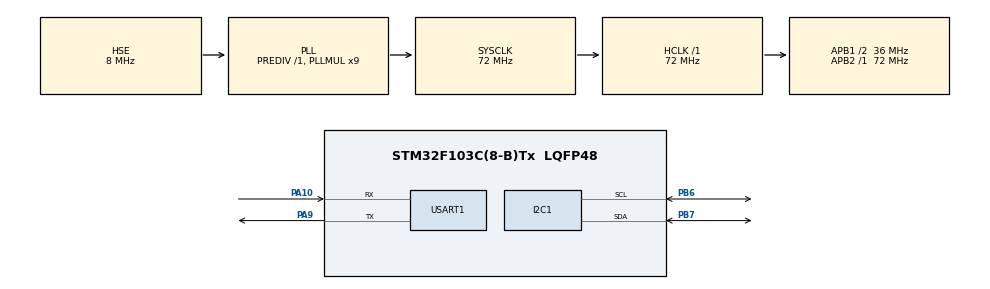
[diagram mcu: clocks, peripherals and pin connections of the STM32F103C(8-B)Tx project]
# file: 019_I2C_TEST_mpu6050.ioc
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Mcu.Family=STM32F1
Mcu.Name=STM32F103C(8-B)Tx
Mcu.Package=LQFP48
NVIC.PriorityGroup=NVIC_PRIORITYGROUP_4
PA10.Mode=Asynchronous
PA10.Signal=USART1_RX
PA13.Mode=Serial_Wire
PA13.Signal=SYS_JTMS-SWDIO
PA14.Mode=Serial_Wire
PA14.Signal=SYS_JTCK-SWCLK
PA9.Mode=Asynchronous
PA9.Signal=USART1_TX
PB6.Mode=I2C
PB6.Signal=I2C1_SCL
PB7.Mode=I2C
PB7.Signal=I2C1_SDA
PD0-OSC_IN.Mode=HSE-External-Oscillator
PD0-OSC_IN.Signal=RCC_OSC_IN
PD1-OSC_OUT.Mode=HSE-External-Oscillator
PD1-OSC_OUT.Signal=RCC_OSC_OUT
ProjectManager.HeapSize=0x200
ProjectManager.StackSize=0x400
ProjectManager.TargetToolchain=STM32CubeIDE
RCC.AHBFreq_Value=72000000
RCC.APB1CLKDivider=RCC_HCLK_DIV2
RCC.APB1Freq_Value=36000000
RCC.APB1TimFreq_Value=72000000
RCC.APB2Freq_Value=72000000
RCC.APB2TimFreq_Value=72000000
RCC.HCLKFreq_Value=72000000
RCC.PLLMUL=RCC_PLL_MUL9
RCC.PLLSourceVirtual=RCC_PLLSOURCE_HSE
RCC.SYSCLKFreq_VALUE=72000000
RCC.SYSCLKSource=RCC_SYSCLKSOURCE_PLLCLK
RCC.USBFreq_Value=72000000
USART1.VirtualMode=VM_ASYNC
board=custom

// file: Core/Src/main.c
#include "main.h"

/* USER CODE BEGIN PD */
#define MPU6050_ADDR        0xD0
#define SMPLRT_DIV_REG      0x19
#define GYRO_CONFIG_REG     0x1B
#define ACCEL_CONFIG_REG    0x1C
#define ACCEL_XOUT_H_REG    0x3B
#define TEMP_OUT_H_REG      0x41
#define GYRO_XOUT_H_REG     0x43
#define PWR_MGMT_1_REG      0x6B
#define WHO_AM_I_REG        0x75
/* USER CODE END PD */

I2C_HandleTypeDef hi2c1;

UART_HandleTypeDef huart1;

void SystemClock_Config(void);
static void MX_GPIO_Init(void);
static void MX_I2C1_Init(void);
static void MX_USART1_UART_Init(void);
/* USER CODE BEGIN PFP */
void MPU6050_Init(void);
void MPU6050_Read_Accel(void);
void MPU6050_Read_Gyro(void);
void MPU6050_Accel_Angle(void);
void MPU6050_Gyro_Angle(void);
/* USER CODE END PFP */

/* USER CODE BEGIN 0 */
int16_t Accel_X_RAW = 0;
int16_t Accel_Y_RAW = 0;
int16_t Accel_Z_RAW = 0;

int16_t Gyro_X_RAW = 0;
int16_t Gyro_Y_RAW = 0;
int16_t Gyro_Z_RAW = 0;

float Ax, Ay, Az, Gx, Gy, Gz;

//variables para el calculo de angulo
float Ax_angle;
float Ay_angle;

float Gx_angle;
float Gy_angle;
float Gx_angle_prev = 0;
float Gy_angle_prev = 0;
uint32_t dt;
uint32_t dt_prev = 0;
volatile uint32_t tick;
/* USER CODE END 0 */

int main(void)
{

    /* MCU Configuration--------------------------------------------------------*/

    /* Reset of all peripherals, Initializes the Flash interface and the Systick. */
    HAL_Init();

    /* Configure the system clock */
    SystemClock_Config();

    /* Initialize all configured peripherals */
    MX_GPIO_Init();
    MX_I2C1_Init();
    MX_USART1_UART_Init();
    /* USER CODE BEGIN 2 */
    MPU6050_Init();
    /* USER CODE END 2 */
    printf("CONFIGURACION MPU6050 EXITOSA\r\n");
    /* Infinite loop */
    while (1)
    {
        MPU6050_Read_Accel();
        MPU6050_Read_Gyro();
        MPU6050_Accel_Angle();
        MPU6050_Gyro_Angle();
        printf("angulo Ax->%.2f\r\n", Ax_angle);
        printf("angulo Ay->%.2f\r\n", Ay_angle);
        printf("angulo Gx->%.2f\r\n", Gx_angle);
        printf("angulo Gy->%.2f\r\n", Gy_angle);
        printf("\r\n");
        printf("tiempo->%ld\r\n", millis());
        HAL_Delay(200);
    }
}

void SystemClock_Config(void)
{
    RCC_OscInitTypeDef RCC_OscInitStruct = {0};
    RCC_ClkInitTypeDef RCC_ClkInitStruct = {0};

    /** Initializes the CPU, AHB and APB busses clocks
    */
    RCC_OscInitStruct.OscillatorType = RCC_OSCILLATORTYPE_HSE;
    RCC_OscInitStruct.HSEState = RCC_HSE_ON;
    RCC_OscInitStruct.HSEPredivValue = RCC_HSE_PREDIV_DIV1;
    RCC_OscInitStruct.HSIState = RCC_HSI_ON;
    RCC_OscInitStruct.PLL.PLLState = RCC_PLL_ON;
    RCC_OscInitStruct.PLL.PLLSource = RCC_PLLSOURCE_HSE;
    RCC_OscInitStruct.PLL.PLLMUL = RCC_PLL_MUL9;
    if (HAL_RCC_OscConfig(&RCC_OscInitStruct) != HAL_OK)
    {
        Error_Handler();
    }
    /** Initializes the CPU, AHB and APB busses clocks
    */
    RCC_ClkInitStruct.ClockType = RCC_CLOCKTYPE_HCLK | RCC_CLOCKTYPE_SYSCLK
                                  | RCC_CLOCKTYPE_PCLK1 | RCC_CLOCKTYPE_PCLK2;
    RCC_ClkInitStruct.SYSCLKSource = RCC_SYSCLKSOURCE_PLLCLK;
    RCC_ClkInitStruct.AHBCLKDivider = RCC_SYSCLK_DIV1;
    RCC_ClkInitStruct.APB1CLKDivider = RCC_HCLK_DIV2;
    RCC_ClkInitStruct.APB2CLKDivider = RCC_HCLK_DIV1;

    if (HAL_RCC_ClockConfig(&RCC_ClkInitStruct, FLASH_LATENCY_2) != HAL_OK)
    {
        Error_Handler();
    }
    HAL_SYSTICK_Config(HAL_RCC_GetHCLKFreq() / 1000);
    HAL_SYSTICK_CLKSourceConfig(SYSTICK_CLKSOURCE_HCLK);

}

static void MX_I2C1_Init(void)
{

    hi2c1.Instance = I2C1;
    hi2c1.Init.ClockSpeed = 100000;
    hi2c1.Init.DutyCycle = I2C_DUTYCYCLE_2;
    hi2c1.Init.OwnAddress1 = 0;
    hi2c1.Init.AddressingMode = I2C_ADDRESSINGMODE_7BIT;
    hi2c1.Init.DualAddressMode = I2C_DUALADDRESS_DISABLE;
    hi2c1.Init.OwnAddress2 = 0;
    hi2c1.Init.GeneralCallMode = I2C_GENERALCALL_DISABLE;
    hi2c1.Init.NoStretchMode = I2C_NOSTRETCH_DISABLE;
    if (HAL_I2C_Init(&hi2c1) != HAL_OK)
    {
        Error_Handler();
    }

}

static void MX_USART1_UART_Init(void)
{

    huart1.Instance = USART1;
    huart1.Init.BaudRate = 115200;
    huart1.Init.WordLength = UART_WORDLENGTH_8B;
    huart1.Init.StopBits = UART_STOPBITS_1;
    huart1.Init.Parity = UART_PARITY_NONE;
    huart1.Init.Mode = UART_MODE_TX_RX;
    huart1.Init.HwFlowCtl = UART_HWCONTROL_NONE;
    huart1.Init.OverSampling = UART_OVERSAMPLING_16;
    if (HAL_UART_Init(&huart1) != HAL_OK)
    {
        Error_Handler();
    }

}

static void MX_GPIO_Init(void)
{

    /* GPIO Ports Clock Enable */
    __HAL_RCC_GPIOD_CLK_ENABLE();
    __HAL_RCC_GPIOA_CLK_ENABLE();
    __HAL_RCC_GPIOB_CLK_ENABLE();

}

/* USER CODE BEGIN 4 */
void MPU6050_Init(void)
{
    uint8_t check;
    uint8_t Data;
    //se chequea que el dispositivo este presente
    HAL_I2C_Mem_Read(&hi2c1, MPU6050_ADDR, WHO_AM_I_REG, 1, &check, 1, HAL_MAX_DELAY);
    if(check == 0x68)
    {
        Data = 0x0;
        //se enciende el MPU6050
        HAL_I2C_Mem_Write(&hi2c1, MPU6050_ADDR, PWR_MGMT_1_REG, 1, &Data, 1, HAL_MAX_DELAY);
        //se establece la velocidad de transferencia de datos
        Data = 0x7;                                             //1kHz
        HAL_I2C_Mem_Write(&hi2c1, MPU6050_ADDR, SMPLRT_DIV_REG, 1, &Data, 1, HAL_MAX_DELAY);
        //configuracion de ascelerometro
        Data = 0x0;
        // XA_ST=0,YA_ST=0,ZA_ST=0, FS_SEL=0 -> ± 2g
        HAL_I2C_Mem_Write(&hi2c1, MPU6050_ADDR, ACCEL_CONFIG_REG, 1, &Data, 1, HAL_MAX_DELAY);

        //configuracion del giroscopio
        Data = 0x0;
        // XG_ST=0,YG_ST=0,ZG_ST=0, FS_SEL=0 -> ± 250 °/s
        HAL_I2C_Mem_Write(&hi2c1, MPU6050_ADDR, GYRO_CONFIG_REG, 1, &Data, 1, HAL_MAX_DELAY);
    }
}

void MPU6050_Read_Accel(void)
{
    uint8_t Rec_Data[6];            //buffer de lectura de bytes
    //lectura de 6 bytes del registro del mupu
    HAL_I2C_Mem_Read (&hi2c1, MPU6050_ADDR, ACCEL_XOUT_H_REG, 1, Rec_Data, 6, 1000);
    Accel_X_RAW = (int16_t)(Rec_Data[0] << 8 | Rec_Data [1]);
    Accel_Y_RAW = (int16_t)(Rec_Data[2] << 8 | Rec_Data [3]);
    Accel_Z_RAW = (int16_t)(Rec_Data[4] << 8 | Rec_Data [5]);
    //la sensibilidad del acelerometro varia segun lo configurado en el registro ACCEL_CONFIG_REG
    Ax = Accel_X_RAW / 16384.0;
    Ay = Accel_Y_RAW / 16384.0;
    Az = Accel_Z_RAW / 16384.0;
}

void MPU6050_Read_Gyro(void)
{
    uint8_t Rec_Data[6];
    //se leen 6 bytes del registro  GYRO_XOUT_H_REG
    HAL_I2C_Mem_Read (&hi2c1, MPU6050_ADDR, GYRO_XOUT_H_REG, 1, Rec_Data, 6, 1000);
    Gyro_X_RAW = (int16_t)(Rec_Data[0] << 8 | Rec_Data [1]);
    Gyro_Y_RAW = (int16_t)(Rec_Data[2] << 8 | Rec_Data [3]);
    Gyro_Z_RAW = (int16_t)(Rec_Data[4] << 8 | Rec_Data [5]);

    //se convierte los valores RAW a dps(°/s)
    //la sensibilidad varia segun lo configurado en el registro GYRO_CONFIG_REG,
    Gx = Gyro_X_RAW / 131.0;
    Gy = Gyro_Y_RAW / 131.0;
    Gz = Gyro_Z_RAW / 131.0;

}
void MPU6050_Accel_Angle(void)
{
    Ax_angle = atan(Ax / sqrt((pow(Ay, 2) + pow(Az, 2)))) * (180.0 / 3.14);
    Ay_angle = atan(Ay / sqrt((pow(Ax, 2) + pow(Az, 2)))) * (180.0 / 3.14);
}
/*
void MPU6050_Gyro_Angle(void){
    dt = millis()-dt_prev;
    dt_prev = millis();
    Gx_angle = Gx*(dt/1000.0)+Gx_angle_prev;
    Gy_angle = Gy*(dt/1000.0)+Gy_angle_prev;

    //se guardan los valores para el siguiente calculo
    Gx_angle_prev = Gx_angle;
    Gy_angle_prev = Gy_angle;
}*/

void MPU6050_Gyro_Angle(void)
{
    dt = millis() - dt_prev;
    dt_prev = millis();
    Gx_angle = 0.98 * ((Gx * dt) / 1000.0 + Gx_angle_prev) + 0.02 * Ax_angle;
    Gy_angle = 0.98 * ((Gy * dt) / 1000.0 + Gy_angle_prev) + 0.02 * Ay_angle;

    //se guardan los valores para el siguiente calculo
    Gx_angle_prev = Gx_angle;
    Gy_angle_prev = Gy_angle;
}
/* USER CODE END 4 */
/*esta funcion permites el uso de la funcion prirntf
 */
int __io_putchar(int ch)
{
    uint8_t c;
    c = ch & 0x00FF;
    HAL_UART_Transmit(&huart1, &c, 1, 10);
    return ch;
}

//funcion para medir el tiempo
void HAL_SYSTICK_Callback(void)
{
    tick++;
}
uint32_t millis(void)
{
    return tick;
}
void Error_Handler(void)
{
}

/************************ (C) COPYRIGHT STMicroelectronics *****END OF FILE****/
